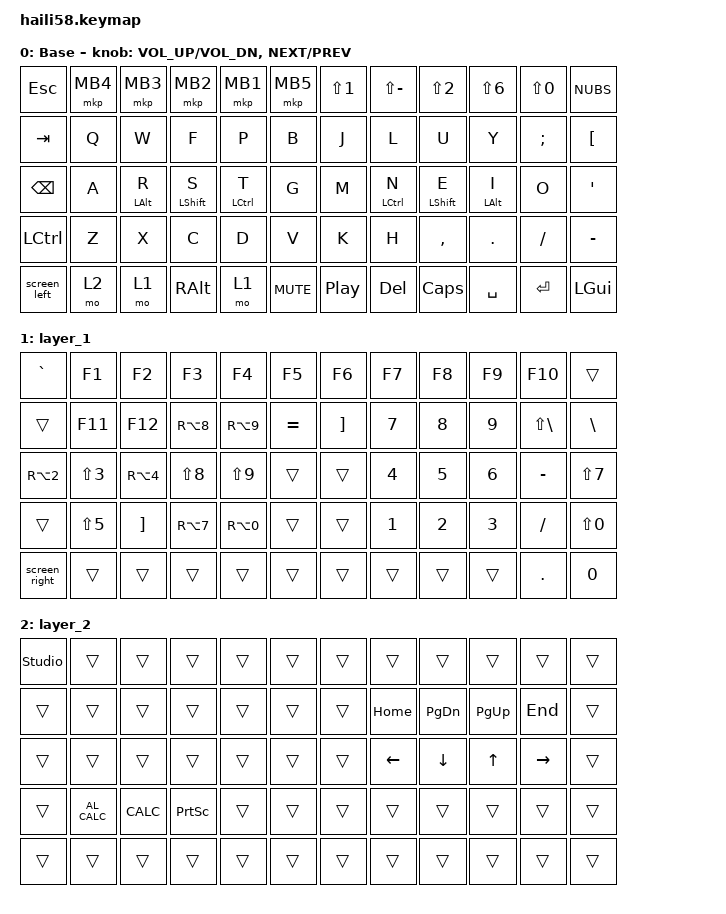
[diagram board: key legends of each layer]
#include <behaviors.dtsi>
#include <dt-bindings/zmk/keys.h>
#include <dt-bindings/zmk/pointing.h>

/ {
    behaviors {
        hml: home_row_mod_left {
            compatible = "zmk,behavior-hold-tap";
            #binding-cells = <2>;
            flavor = "balanced";
            require-prior-idle-ms = <150>;
            tapping-term-ms = <280>;
            quick-tap-ms = <175>;
            bindings = <&kp>, <&kp>;
            hold-trigger-key-positions = <
                 6  7  8  9 10 11
                18 19 20 21 22 23
                30 31 32 33 34 35
                42 43 44 45 46 47
                54 55 56 57 58 59
            >;
            hold-trigger-on-release;
        };

        hmr: home_row_mod_right {
            compatible = "zmk,behavior-hold-tap";
            #binding-cells = <2>;
            flavor = "balanced";
            require-prior-idle-ms = <150>;
            tapping-term-ms = <280>;
            quick-tap-ms = <175>;
            bindings = <&kp>, <&kp>;
            hold-trigger-key-positions = <
                 0  1  2  3  4  5
                12 13 14 15 16 17
                24 25 26 27 28 29
                36 37 38 39 40 41
                48 49 50 51 52 53
            >;
            hold-trigger-on-release;
        };
    };
    macros {
        screen_left: screen_left {
            compatible = "zmk,behavior-macro";
            #binding-cells = <0>;
            wait-ms = <40>;
            tap-ms = <40>;
            bindings
                = <&macro_press &kp LGUI &kp LCTRL>
                , <&macro_tap &kp LEFT>
                , <&macro_release &kp LGUI &kp LCTRL>
                ;
        };

        screen_right: screen_right {
            compatible = "zmk,behavior-macro";
            #binding-cells = <0>;
            wait-ms = <40>;
            tap-ms = <40>;
            bindings
                = <&macro_press &kp LGUI &kp LCTRL>
                , <&macro_tap &kp RIGHT>
                , <&macro_release &kp LGUI &kp LCTRL>
                ;
        };
    };
    keymap {
        compatible = "zmk,keymap";

        default_layer {
            display-name = "Base";
            bindings = <
&kp ESC           &mkp MB4      &mkp MB3      &mkp MB2       &mkp MB1      &mkp MB5            &kp LS(N1)          &kp LS(MINUS)   &kp LS(N2)     &kp LS(N6)   &kp LS(N0)  &kp NUBS
&kp TAB           &kp Q         &kp W         &kp F          &kp P         &kp B               &kp J               &kp L           &kp U          &kp Y        &kp SEMI    &kp LBKT
&kp BACKSPACE     &kp A         &hml LALT R   &hml LSHFT S   &hml LCTRL T  &kp G               &kp M               &hmr LCTRL N    &hmr LSHFT E   &hmr LALT I  &kp O       &kp APOS
&kp LCTRL         &kp Z         &kp X         &kp C          &kp D         &kp V               &kp K               &kp H           &kp COMMA      &kp DOT      &kp FSLH    &kp MINUS
&screen_left      &mo 2         &mo 1         &kp RIGHT_ALT  &mo 1         &kp C_MUTE          &kp C_PLAY_PAUSE    &kp DELETE      &kp CAPS       &kp SPACE    &kp RETURN  &kp LGUI
            >;

            sensor-bindings = <&inc_dec_kp C_VOL_UP C_VOL_DN &inc_dec_kp C_NEXT C_PREV>;
        };

        layer_1 {
            bindings = <
&kp GRAVE      &kp F1           &kp F2           &kp F3          &kp F4          &kp F5          &kp F6      &kp F7    &kp F8    &kp F9     &kp F10          &trans
&trans         &kp F11          &kp F12          &kp RA(N8)      &kp RA(N9)      &kp EQUAL       &kp RBKT    &kp N7    &kp N8    &kp N9     &kp LS(BSLH)     &kp BSLH
&kp RA(N2)     &kp LS(N3)       &kp RA(N4)       &kp LS(N8)      &kp LS(N9)      &trans          &trans      &kp N4    &kp N5    &kp N6     &kp MINUS        &kp LS(N7)
&trans         &kp LS(N5)       &kp RBKT         &kp RA(N7)      &kp RA(N0)      &trans          &trans      &kp N1    &kp N2    &kp N3     &kp SLASH        &kp LS(N0)
&screen_right  &trans           &trans           &trans          &trans          &trans          &trans      &trans    &trans    &trans     &kp DOT          &kp N0
            >;
        };

        layer_2 {
            bindings = <
&studio_unlock  &trans          &trans      &trans          &trans      &trans          &trans   &trans           &trans           &trans         &trans      &trans
&trans          &trans          &trans      &trans          &trans      &trans          &trans   &kp HOME         &kp PAGE_DOWN    &kp PAGE_UP    &kp END     &trans
&trans          &trans          &trans      &trans          &trans      &trans          &trans   &kp LEFT         &kp DOWN         &kp UP         &kp RIGHT   &trans
&trans          &kp C_AL_CALC   &kp K_CALC  &kp PSCRN       &trans      &trans          &trans   &trans           &trans           &trans         &trans      &trans
&trans          &trans          &trans      &trans          &trans      &trans          &trans   &trans           &trans           &trans         &trans      &trans
            >;
        };
    };
};
